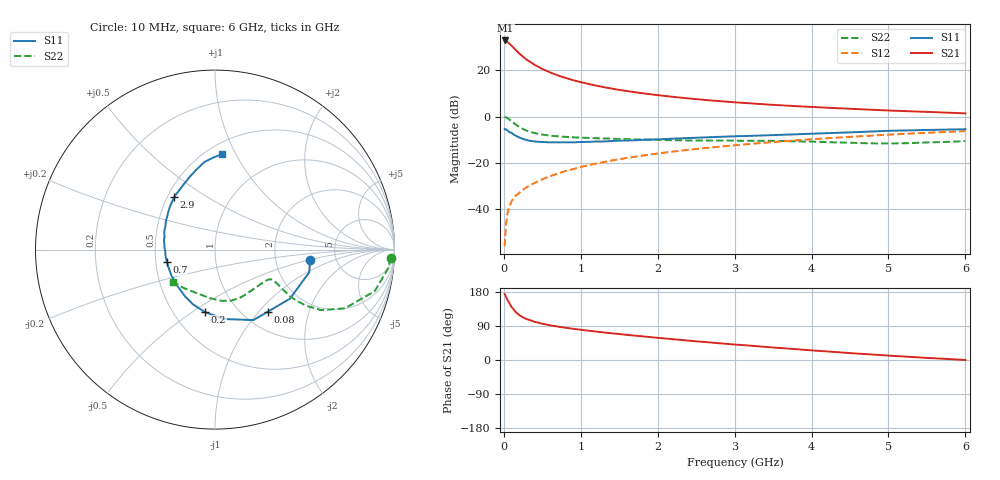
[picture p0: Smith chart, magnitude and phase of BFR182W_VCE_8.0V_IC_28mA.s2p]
! Infineon Technologies  Discrete & RF Semiconductors
! BFR182W
! VCE =  8.0 V,  IC =  28 mA
! Common Emitter S-Parameters:  Jan 2017
# GHz  S  MA  R  50
!  f  S11  S21  S12  S22
! GHz  MAG  ANG  MAG  ANG  MAG  ANG  MAG  ANG
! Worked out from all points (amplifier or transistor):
!   77 points, 10 MHz to 6 GHz, reference 50 ohm
!   highest |S21| = 32.8 dB at 20 MHz (marker M1)
!   |S21| within 3 dB of that: start of sweep to 122.4 MHz
!   unconditionally stable (mu >= 1): 713 MHz to 2.273 GHz
!   at 130 MHz: K = 0.48, MSG = 32.3 dB, |S12| = -35.1 dB
!   at 2.2 GHz: K = 1.00, MAG = 11.4 dB, |S12| = -15.1 dB
!   at 6 GHz: K = 0.86, MSG = 3.8 dB, |S12| = -6.3 dB
!   S11 on the Smith chart (normalised r, x): 10 MHz: 3.18, -0.54; 80 MHz: 1.29, -1.12; 200 MHz: 0.71, -0.56; 700 MHz: 0.57, -0.09; 2.9 GHz: 0.54, +0.37; 6 GHz: 0.59, +0.88
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0.01  0.533 -6.5  43.52 174.3  0.0016 84.8  0.9789 -2.6
0.02  0.5403 -13.5  43.66 170.2  0.003 92.2  0.9716 -6.0
0.05  0.4991 -33.3  40.34 157.3  0.0086 78.2  0.92 -14.5
0.08  0.4543 -49.5  36.02 147.5  0.0123 72.4  0.8412 -20.1
0.1  0.4473 -61.4  33.85 139.7  0.0148 70.1  0.7938 -24.4
0.15  0.3898 -82.8  27.66 127.4  0.0194 66.8  0.6804 -29.7
0.2  0.3523 -99.2  22.9 118.7  0.0225 66.1  0.5965 -31.6
0.25  0.3284 -112.2  19.38 112.3  0.0265 66.5  0.5372 -32.1
0.3  0.3096 -122.5  16.65 107.7  0.0301 66.5  0.4927 -31.9
0.4  0.2903 -138.0  12.99 100.6  0.037 69.2  0.4392 -30.5
0.5  0.282 -149.7  10.59 95.7  0.0442 70.3  0.4075 -29.3
0.6  0.2772 -158.5  8.953 91.6  0.0517 71.2  0.3873 -28.4
0.7  0.2771 -165.5  7.733 88.3  0.0587 71.8  0.3738 -27.8
0.9  0.2774 -177.6  6.078 82.3  0.0735 72.4  0.3564 -27.9
1.1  0.2841 173.4  5.035 77.4  0.0893 72.6  0.3455 -28.8
1.5  0.3016 159.7  3.755 68.5  0.1199 71.2  0.328 -32.7
2.1  0.327 144.0  2.769 56.7  0.1673 67.9  0.3105 -42.8
2.9  0.3694 127.9  2.086 42.5  0.2316 62.2  0.3019 -59.9
3.1  0.3785 124.3  1.975 39.4  0.2479 60.6  0.3003 -64.0
4.1  0.4313 108.6  1.578 24.0  0.3313 52.0  0.2839 -85.1
5.1  0.4957 95.7  1.329 10.4  0.4138 42.5  0.2638 -115.5
6  0.5321 86.0  1.171 0.0  0.4844 33.3  0.2954 -142.9
